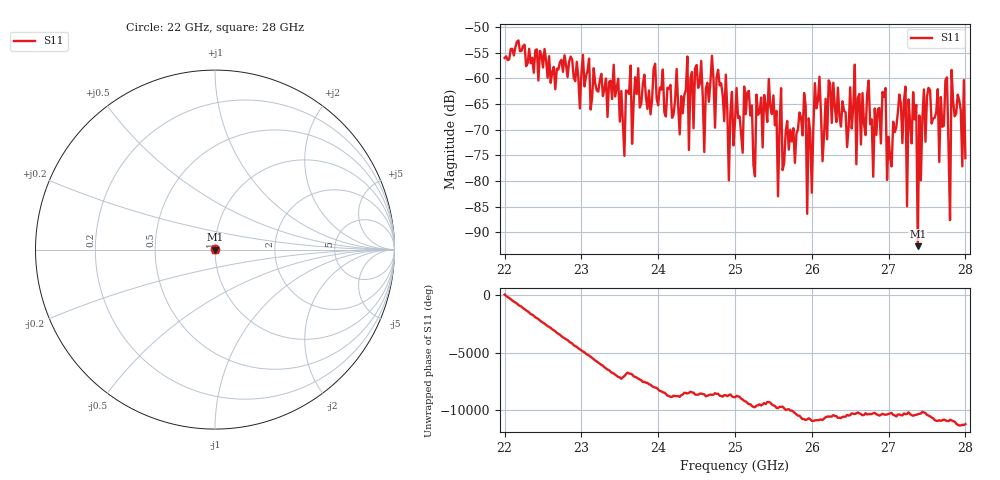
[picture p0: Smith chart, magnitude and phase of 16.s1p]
#  HZ  S  RI  R  50.00
! Rohde & Schwarz ZVA40 4Ports - Version 3.90 - 1145.1110k42 SN: 100403
! Date: 2023-10-04 09:34:22
! Measurement: S12
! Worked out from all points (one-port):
!   301 points, 22 GHz to 28 GHz, reference 50 ohm
!   lowest |S11| = -92.7 dB at 27.38 GHz (marker M1), VSWR 1.00, Z = 50 + j0.00105 ohm
!   |S11| at or under -10 dB: start of sweep to end of sweep
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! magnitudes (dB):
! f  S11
! 22 GHz  -56.0
! 22.76 GHz  -58.7
! 23.5 GHz  -68.4
! 24.26 GHz  -65.5
! 25 GHz  -68.5
! 25.76 GHz  -69.7
! 26 GHz  -82.3
! 26.04 GHz  -60.9
! 26.14 GHz  -76.1
! 26.5 GHz  -61.7
! 26.56 GHz  -57.3
! 26.58 GHz  -76.7
! 26.74 GHz  -60.4
! 26.8 GHz  -79.2
! 26.96 GHz  -61.9
! 26.98 GHz  -79.8
! 27.22 GHz  -61.6
! 27.24 GHz  -84.9
! 27.26 GHz  -64.1
! 27.38 GHz  -92.7
! 27.46 GHz  -62.1
! 27.66 GHz  -76.3
! 27.76 GHz  -59.8
! 27.8 GHz  -87.6
! 27.82 GHz  -58.3
! 27.96 GHz  -77.1
! 27.98 GHz  -60.3
! 28 GHz  -75.5
